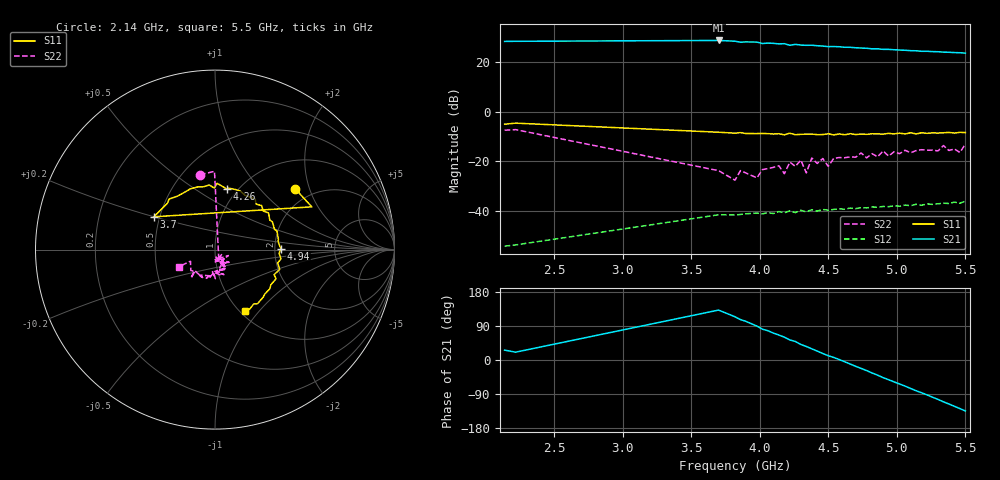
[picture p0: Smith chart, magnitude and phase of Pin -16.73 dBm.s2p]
! RsaToolbox (C) 2015 Rohde & Schwarz America
! Number of points: 45
! Number of ports: 2
! Balanced ports?: No
# Hz S RI R 50
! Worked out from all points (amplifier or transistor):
!   45 points, 2.14 GHz to 5.5 GHz, reference 50 ohm
!   highest |S21| = 28.7 dB at 3.7 GHz (marker M1)
!   |S21| within 3 dB of that: start of sweep to 4.718 GHz
!   unconditionally stable (mu >= 1): start of sweep to end of sweep
!   at 4.02 GHz: K = 2.19, MAG = 28.2 dB, |S12| = -41.2 dB
!   at 4.62 GHz: K = 2.08, MAG = 26.7 dB, |S12| = -39.3 dB
!   at 5.5 GHz: K = 1.75, MAG = 24.8 dB, |S12| = -36.0 dB
!   S11 on the Smith chart (normalised r, x): 2.14 GHz: 1.64, +1.61; 3.7 GHz: 0.46, +0.20; 4.26 GHz: 0.89, +0.69; 4.94 GHz: 2.16, +0.01; 5.5 GHz: 1.05, -0.84
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2.14e9  0.4483 0.3373  23.53 11.53  -0.000553 -0.00187  -0.083 0.4171
2.22e9  0.5394 0.2382  24.64 9.294  -0.000484 -0.00201  -0.00274 0.4361
3.7e9  -0.3408 0.1827  -18.22 20.43  0.00108 0.00831  0.0214 -0.0614
3.82e9  -0.2646 0.2592  -10.8 24.15  0.00292 0.0078  0.00605 -0.0414
3.86e9  -0.2559 0.2812  -7.2 24.17  0.00388 0.00757  0.0161 -0.0631
3.98e9  -0.1492 0.3308  0.2277 25.37  0.00571 0.00706  0.0395 -0.0244
4.02e9  -0.1401 0.3376  3.565 23.48  0.00638 0.00597  0.000891 -0.0683
4.06e9  -0.094 0.3498  5.367 23.65  0.00696 0.00615  0.0505 -0.0506
4.1e9  -0.0697 0.3488  7.799 22.65  0.00721 0.00517  0.0286 -0.0701
4.18e9  -0.00364 0.3429  11.67 20.46  0.00823 0.00411  8.11e-05 -0.0564
4.22e9  0.0117 0.3693  13.19 17.48  0.00936 0.0037  0.0622 -0.0739
4.26e9  0.0662 0.3379  15.04 17.2  0.00879 0.00295  0.0298 -0.0734
4.3e9  0.0753 0.3426  16.68 14.52  0.0101 0.00238  0.0786 -0.071
4.38e9  0.1402 0.3264  19.11 10.8  0.0106 0.000639  0.0529 -0.1043
4.54e9  0.2294 0.2534  20.5 2.424  0.0104 -0.00274  0.021 -0.1129
4.66e9  0.2984 0.2041  19.61 -3.677  0.0103 -0.00501  0.0535 -0.1109
4.78e9  0.3317 0.1129  16.84 -8.941  0.00828 -0.00803  0.00943 -0.1172
4.94e9  0.3671 0.00287  11.16 -14.29  0.00591 -0.0107  -0.0073 -0.1279
5.06e9  0.349 -0.0748  6.254 -16.21  0.00322 -0.0128  -0.0491 -0.1604
5.22e9  0.311 -0.1962  -0.5924 -16.55  -0.00114 -0.0139  -0.0838 -0.145
5.38e9  0.2367 -0.3017  -6.969 -14.2  -0.0056 -0.013  -0.1123 -0.122
5.5e9  0.1651 -0.343  -10.64 -10.85  -0.0091 -0.0129  -0.2015 -0.0949
